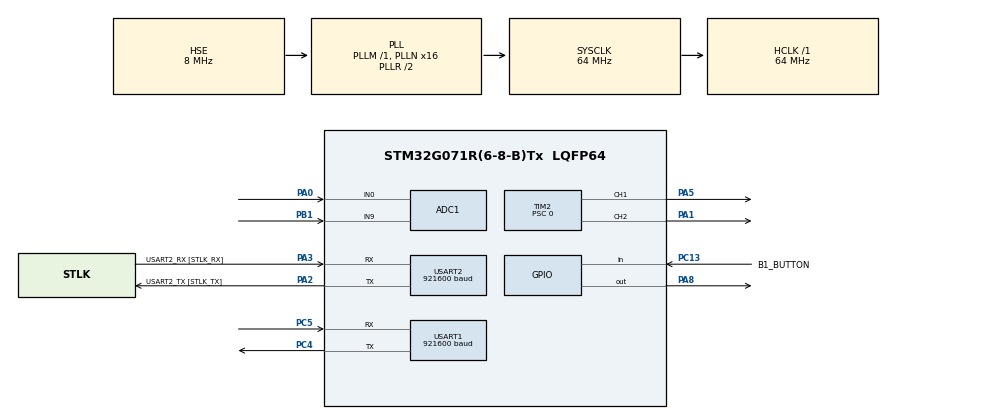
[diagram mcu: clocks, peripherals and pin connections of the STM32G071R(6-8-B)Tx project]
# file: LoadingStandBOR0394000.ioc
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ADC1.Channel-1\#ChannelRegularConversion=ADC_CHANNEL_0
ADC1.ContinuousConvMode=DISABLE
ADC1.DMAContinuousRequests=ENABLE
ADC1.DiscontinuousConvMode=DISABLE
ADC1.ExternalTrigConv=ADC_EXTERNALTRIG_T2_TRGO
ADC1.ExternalTrigConvEdge=ADC_EXTERNALTRIGCONVEDGE_RISING
ADC1.NbrOfConversionFlag=1
ADC1.Rank-1\#ChannelRegularConversion=1
ADC1.SamplingTime-1\#ChannelRegularConversion=ADC_SAMPLINGTIME_COMMON_1
ADC1.SamplingTimeCommon1=ADC_SAMPLETIME_39CYCLES_5
ADC1.SamplingTimeCommon2=ADC_SAMPLETIME_39CYCLES_5
ADC1.SelectedChannel=ADC_CHANNEL_0|ADC_CHANNEL_9
ADC1.master=1
Dma.ADC1.1.Direction=DMA_PERIPH_TO_MEMORY
Dma.ADC1.1.EventEnable=DISABLE
Dma.ADC1.1.Instance=DMA1_Channel2
Dma.ADC1.1.MemDataAlignment=DMA_MDATAALIGN_HALFWORD
Dma.ADC1.1.MemInc=DMA_MINC_ENABLE
Dma.ADC1.1.Mode=DMA_CIRCULAR
Dma.ADC1.1.PeriphDataAlignment=DMA_PDATAALIGN_HALFWORD
Dma.ADC1.1.PeriphInc=DMA_PINC_DISABLE
Dma.ADC1.1.Polarity=HAL_DMAMUX_REQ_GEN_RISING
Dma.ADC1.1.Priority=DMA_PRIORITY_HIGH
Dma.ADC1.1.RequestNumber=1
Dma.ADC1.1.SignalID=NONE
Dma.ADC1.1.SyncEnable=DISABLE
Dma.ADC1.1.SyncPolarity=HAL_DMAMUX_SYNC_NO_EVENT
Dma.ADC1.1.SyncRequestNumber=1
Dma.ADC1.1.SyncSignalID=NONE
Dma.Request0=USART2_RX
Dma.Request1=ADC1
Dma.Request2=USART1_RX
Dma.USART1_RX.2.Direction=DMA_PERIPH_TO_MEMORY
Dma.USART1_RX.2.EventEnable=DISABLE
Dma.USART1_RX.2.Instance=DMA1_Channel3
Dma.USART1_RX.2.MemDataAlignment=DMA_MDATAALIGN_BYTE
Dma.USART1_RX.2.MemInc=DMA_MINC_ENABLE
Dma.USART1_RX.2.Mode=DMA_CIRCULAR
Dma.USART1_RX.2.PeriphDataAlignment=DMA_PDATAALIGN_BYTE
Dma.USART1_RX.2.PeriphInc=DMA_PINC_DISABLE
Dma.USART1_RX.2.Polarity=HAL_DMAMUX_REQ_GEN_RISING
Dma.USART1_RX.2.Priority=DMA_PRIORITY_LOW
Dma.USART1_RX.2.RequestNumber=1
Dma.USART1_RX.2.SignalID=NONE
Dma.USART1_RX.2.SyncEnable=DISABLE
Dma.USART1_RX.2.SyncPolarity=HAL_DMAMUX_SYNC_NO_EVENT
Dma.USART1_RX.2.SyncRequestNumber=1
Dma.USART1_RX.2.SyncSignalID=NONE
Dma.USART2_RX.0.Direction=DMA_PERIPH_TO_MEMORY
Dma.USART2_RX.0.EventEnable=DISABLE
Dma.USART2_RX.0.Instance=DMA1_Channel1
Dma.USART2_RX.0.MemDataAlignment=DMA_MDATAALIGN_BYTE
Dma.USART2_RX.0.MemInc=DMA_MINC_ENABLE
Dma.USART2_RX.0.Mode=DMA_CIRCULAR
Dma.USART2_RX.0.PeriphDataAlignment=DMA_PDATAALIGN_BYTE
Dma.USART2_RX.0.PeriphInc=DMA_PINC_DISABLE
Dma.USART2_RX.0.Polarity=HAL_DMAMUX_REQ_GEN_RISING
Dma.USART2_RX.0.Priority=DMA_PRIORITY_LOW
Dma.USART2_RX.0.RequestNumber=1
Dma.USART2_RX.0.SignalID=NONE
Dma.USART2_RX.0.SyncEnable=DISABLE
Dma.USART2_RX.0.SyncPolarity=HAL_DMAMUX_SYNC_NO_EVENT
Dma.USART2_RX.0.SyncRequestNumber=1
Dma.USART2_RX.0.SyncSignalID=NONE
Mcu.Family=STM32G0
Mcu.Name=STM32G071R(6-8-B)Tx
Mcu.Package=LQFP64
NVIC.DMA1_Channel1_IRQn=true\:2\:0\:true\:false\:true\:false\:true\:true
NVIC.DMA1_Channel2_3_IRQn=true\:1\:0\:true\:false\:true\:false\:true\:true
NVIC.USART1_IRQn=true\:3\:0\:true\:false\:true\:false\:true\:true
NVIC.USART2_IRQn=true\:3\:0\:true\:false\:true\:false\:true\:true
PA0.Mode=IN0
PA0.Signal=ADC1_IN0
PA1.Signal=S_TIM2_CH2
PA13.GPIO_Label=TMS
PA13.Mode=Serial_Wire
PA13.Signal=SYS_SWDIO
PA14-BOOT0.GPIO_Label=TCK
PA14-BOOT0.Mode=Serial_Wire
PA14-BOOT0.Signal=SYS_SWCLK
PA2.GPIO_Label=USART2_TX [STLK_TX]
PA2.GPIO_PuPd=GPIO_PULLUP
PA2.Mode=Asynchronous
PA2.Signal=USART2_TX
PA3.GPIO_Label=USART2_RX [STLK_RX]
PA3.GPIO_PuPd=GPIO_PULLUP
PA3.Mode=Asynchronous
PA3.Signal=USART2_RX
PA5.Signal=S_TIM2_CH1_ETR
PA8.GPIO_Speed=GPIO_SPEED_FREQ_VERY_HIGH
PA8.Signal=GPIO_Output
PB1.Mode=IN9
PB1.Signal=ADC1_IN9
PC13.GPIO_Label=B1_BUTTON
PC13.GPIO_PuPd=GPIO_PULLUP
PC13.Signal=GPIO_Input
PC14-OSC32_IN\ (PC14).Mode=LSE-External-Oscillator
PC14-OSC32_IN\ (PC14).Signal=RCC_OSC32_IN
PC15-OSC32_OUT\ (PC15).Mode=LSE-External-Oscillator
PC15-OSC32_OUT\ (PC15).Signal=RCC_OSC32_OUT
PC4.GPIO_PuPd=GPIO_PULLUP
PC4.Mode=Asynchronous
PC4.Signal=USART1_TX
PC5.GPIO_PuPd=GPIO_PULLUP
PC5.Mode=Asynchronous
PC5.Signal=USART1_RX
PF0-OSC_IN\ (PF0).Mode=HSE-External-Oscillator
PF0-OSC_IN\ (PF0).Signal=RCC_OSC_IN
PF1-OSC_OUT\ (PF1).Mode=HSE-External-Oscillator
PF1-OSC_OUT\ (PF1).Signal=RCC_OSC_OUT
ProjectManager.HeapSize=0x200
ProjectManager.StackSize=0x400
ProjectManager.TargetToolchain=STM32CubeIDE
RCC.ADCFreq_Value=64000000
RCC.AHBFreq_Value=64000000
RCC.CortexFreq_Value=64000000
RCC.EXTERNAL_CLOCK_VALUE=12288000
RCC.HCLKFreq_Value=64000000
RCC.HSE_VALUE=8000000
RCC.HSI_VALUE=16000000
RCC.PLLN=16
RCC.PLLSourceVirtual=RCC_PLLSOURCE_HSE
RCC.SYSCLKFreq_VALUE=64000000
RCC.SYSCLKSource=RCC_SYSCLKSOURCE_PLLCLK
RCC.VCOOutputFreq_Value=128000000
SH.S_TIM2_CH1_ETR.0=TIM2_CH1,PWM Generation1 CH1
SH.S_TIM2_CH2.0=TIM2_CH2,PWM Generation2 CH2
TIM2.AutoReloadPreload=TIM_AUTORELOAD_PRELOAD_ENABLE
TIM2.Channel-PWM\ Generation1\ CH1=TIM_CHANNEL_1
TIM2.Channel-PWM\ Generation2\ CH2=TIM_CHANNEL_2
TIM2.Channel-PWM\ Generation4\ No\ Output=TIM_CHANNEL_4
TIM2.ClockDivision=TIM_CLOCKDIVISION_DIV2
TIM2.CounterMode=TIM_COUNTERMODE_CENTERALIGNED1
TIM2.OCMode_PWM-PWM\ Generation4\ No\ Output=TIM_OCMODE_PWM1
TIM2.Period=3200
TIM2.Prescaler=0
TIM2.Pulse-PWM\ Generation1\ CH1=0
TIM2.Pulse-PWM\ Generation2\ CH2=0
TIM2.Pulse-PWM\ Generation4\ No\ Output=160
TIM2.TIM_MasterOutputTrigger=TIM_TRGO_OC4REF
TIM2.TIM_MasterSlaveMode=TIM_MASTERSLAVEMODE_DISABLE
USART1.BaudRate=921600
USART1.VirtualMode-Asynchronous=VM_ASYNC
USART2.BaudRate=921600
USART2.VirtualMode-Asynchronous=VM_ASYNC
VP_TIM2_VS_ClockSourceINT.Mode=Internal
VP_TIM2_VS_no_output4.Mode=PWM Generation4 No Output
board=NUCLEO-G071RB

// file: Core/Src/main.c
/* USER CODE BEGIN Header */
/**
  ******************************************************************************
  * @file           : main.c
  * @brief          : Main program body
  ******************************************************************************
  * @attention
  *
  * Copyright (c) 2026 STMicroelectronics.
  * All rights reserved.
  *
  * This software is licensed under terms that can be found in the LICENSE file
  * in the root directory of this software component.
  * If no LICENSE file comes with this software, it is provided AS-IS.
  *
  ******************************************************************************
  */
/* USER CODE END Header */
#include "main.h"

/* USER CODE BEGIN Includes */
#include "console.h"
#include "control.h"
#include "cmd.h"
#include <stdio.h>
/* USER CODE END Includes */

ADC_HandleTypeDef hadc1;
DMA_HandleTypeDef hdma_adc1;

TIM_HandleTypeDef htim2;

UART_HandleTypeDef huart1;
UART_HandleTypeDef huart2;
DMA_HandleTypeDef hdma_usart1_rx;
DMA_HandleTypeDef hdma_usart2_rx;

void SystemClock_Config(void);
static void MX_GPIO_Init(void);
static void MX_DMA_Init(void);
static void MX_USART2_UART_Init(void);
static void MX_ADC1_Init(void);
static void MX_TIM2_Init(void);
static void MX_USART1_UART_Init(void);
/* USER CODE BEGIN PFP */
void App_Init(void);
void App_Process(void);
/* USER CODE END PFP */

int main(void)
{

  /* MCU Configuration--------------------------------------------------------*/

  /* Reset of all peripherals, Initializes the Flash interface and the Systick. */
  HAL_Init();

  /* Configure the system clock */
  SystemClock_Config();

  /* Initialize all configured peripherals */
  MX_GPIO_Init();
  MX_DMA_Init();
  MX_USART2_UART_Init();
  MX_ADC1_Init();
  MX_TIM2_Init();
  MX_USART1_UART_Init();
  /* USER CODE BEGIN 2 */
  App_Init();
  /* USER CODE END 2 */

  /* Infinite loop */
  while (1)
  {

    /* USER CODE BEGIN 3 */
    App_Process();   /* inside USER CODE 3 so CubeMX regeneration keeps it */
  }
  /* USER CODE END 3 */
}

void SystemClock_Config(void)
{
  RCC_OscInitTypeDef RCC_OscInitStruct = {0};
  RCC_ClkInitTypeDef RCC_ClkInitStruct = {0};

  /** Configure the main internal regulator output voltage
  */
  HAL_PWREx_ControlVoltageScaling(PWR_REGULATOR_VOLTAGE_SCALE1);

  /** Initializes the RCC Oscillators according to the specified parameters
  * in the RCC_OscInitTypeDef structure.
  */
  RCC_OscInitStruct.OscillatorType = RCC_OSCILLATORTYPE_HSE;
  RCC_OscInitStruct.HSEState = RCC_HSE_ON;
  RCC_OscInitStruct.PLL.PLLState = RCC_PLL_ON;
  RCC_OscInitStruct.PLL.PLLSource = RCC_PLLSOURCE_HSE;
  RCC_OscInitStruct.PLL.PLLM = RCC_PLLM_DIV1;
  RCC_OscInitStruct.PLL.PLLN = 16;
  RCC_OscInitStruct.PLL.PLLP = RCC_PLLP_DIV2;
  RCC_OscInitStruct.PLL.PLLQ = RCC_PLLQ_DIV2;
  RCC_OscInitStruct.PLL.PLLR = RCC_PLLR_DIV2;
  if (HAL_RCC_OscConfig(&RCC_OscInitStruct) != HAL_OK)
  {
    Error_Handler();
  }

  /** Initializes the CPU, AHB and APB buses clocks
  */
  RCC_ClkInitStruct.ClockType = RCC_CLOCKTYPE_HCLK|RCC_CLOCKTYPE_SYSCLK
                              |RCC_CLOCKTYPE_PCLK1;
  RCC_ClkInitStruct.SYSCLKSource = RCC_SYSCLKSOURCE_PLLCLK;
  RCC_ClkInitStruct.AHBCLKDivider = RCC_SYSCLK_DIV1;
  RCC_ClkInitStruct.APB1CLKDivider = RCC_HCLK_DIV1;

  if (HAL_RCC_ClockConfig(&RCC_ClkInitStruct, FLASH_LATENCY_2) != HAL_OK)
  {
    Error_Handler();
  }
}

static void MX_ADC1_Init(void)
{

  ADC_ChannelConfTypeDef sConfig = {0};

  /** Configure the global features of the ADC (Clock, Resolution, Data Alignment and number of conversion)
  */
  hadc1.Instance = ADC1;
  hadc1.Init.ClockPrescaler = ADC_CLOCK_SYNC_PCLK_DIV2;
  hadc1.Init.Resolution = ADC_RESOLUTION_12B;
  hadc1.Init.DataAlign = ADC_DATAALIGN_RIGHT;
  hadc1.Init.ScanConvMode = ADC_SCAN_DISABLE;
  hadc1.Init.EOCSelection = ADC_EOC_SINGLE_CONV;
  hadc1.Init.LowPowerAutoWait = DISABLE;
  hadc1.Init.LowPowerAutoPowerOff = DISABLE;
  hadc1.Init.ContinuousConvMode = DISABLE;
  hadc1.Init.NbrOfConversion = 1;
  hadc1.Init.DiscontinuousConvMode = DISABLE;
  hadc1.Init.ExternalTrigConv = ADC_EXTERNALTRIG_T2_TRGO;
  hadc1.Init.ExternalTrigConvEdge = ADC_EXTERNALTRIGCONVEDGE_RISING;
  hadc1.Init.DMAContinuousRequests = ENABLE;
  hadc1.Init.Overrun = ADC_OVR_DATA_PRESERVED;
  hadc1.Init.SamplingTimeCommon1 = ADC_SAMPLETIME_39CYCLES_5;
  hadc1.Init.SamplingTimeCommon2 = ADC_SAMPLETIME_39CYCLES_5;
  hadc1.Init.OversamplingMode = DISABLE;
  hadc1.Init.TriggerFrequencyMode = ADC_TRIGGER_FREQ_HIGH;
  if (HAL_ADC_Init(&hadc1) != HAL_OK)
  {
    Error_Handler();
  }

  /** Configure Regular Channel
  */
  sConfig.Channel = ADC_CHANNEL_0;
  sConfig.Rank = ADC_REGULAR_RANK_1;
  sConfig.SamplingTime = ADC_SAMPLINGTIME_COMMON_1;
  if (HAL_ADC_ConfigChannel(&hadc1, &sConfig) != HAL_OK)
  {
    Error_Handler();
  }

}

static void MX_TIM2_Init(void)
{

  TIM_ClockConfigTypeDef sClockSourceConfig = {0};
  TIM_MasterConfigTypeDef sMasterConfig = {0};
  TIM_OC_InitTypeDef sConfigOC = {0};

  htim2.Instance = TIM2;
  htim2.Init.Prescaler = 0;
  htim2.Init.CounterMode = TIM_COUNTERMODE_CENTERALIGNED1;
  htim2.Init.Period = 3200;
  htim2.Init.ClockDivision = TIM_CLOCKDIVISION_DIV2;
  htim2.Init.AutoReloadPreload = TIM_AUTORELOAD_PRELOAD_ENABLE;
  if (HAL_TIM_Base_Init(&htim2) != HAL_OK)
  {
    Error_Handler();
  }
  sClockSourceConfig.ClockSource = TIM_CLOCKSOURCE_INTERNAL;
  if (HAL_TIM_ConfigClockSource(&htim2, &sClockSourceConfig) != HAL_OK)
  {
    Error_Handler();
  }
  if (HAL_TIM_PWM_Init(&htim2) != HAL_OK)
  {
    Error_Handler();
  }
  sMasterConfig.MasterOutputTrigger = TIM_TRGO_OC4REF;
  sMasterConfig.MasterSlaveMode = TIM_MASTERSLAVEMODE_DISABLE;
  if (HAL_TIMEx_MasterConfigSynchronization(&htim2, &sMasterConfig) != HAL_OK)
  {
    Error_Handler();
  }
  sConfigOC.OCMode = TIM_OCMODE_PWM1;
  sConfigOC.Pulse = 0;
  sConfigOC.OCPolarity = TIM_OCPOLARITY_HIGH;
  sConfigOC.OCFastMode = TIM_OCFAST_DISABLE;
  if (HAL_TIM_PWM_ConfigChannel(&htim2, &sConfigOC, TIM_CHANNEL_1) != HAL_OK)
  {
    Error_Handler();
  }
  if (HAL_TIM_PWM_ConfigChannel(&htim2, &sConfigOC, TIM_CHANNEL_2) != HAL_OK)
  {
    Error_Handler();
  }
  sConfigOC.Pulse = 160;
  if (HAL_TIM_PWM_ConfigChannel(&htim2, &sConfigOC, TIM_CHANNEL_4) != HAL_OK)
  {
    Error_Handler();
  }
  /* USER CODE BEGIN TIM2_Init 2 */
  /* CH4 (no GPIO) + TRGO=OC4REF are now configured from the .ioc above: OC4REF's
     rising edge triggers the ADC once per PWM period near the ON-pulse center.
     Pulse(CCR4) = advance before center; it is set/tuned at runtime in control.c
     (apply_output / Reg_SetTrigAdv), adapting to duty for short vs long pulses. */
  /* USER CODE END TIM2_Init 2 */
  HAL_TIM_MspPostInit(&htim2);

}

static void MX_USART1_UART_Init(void)
{

  huart1.Instance = USART1;
  huart1.Init.BaudRate = 921600;
  huart1.Init.WordLength = UART_WORDLENGTH_8B;
  huart1.Init.StopBits = UART_STOPBITS_1;
  huart1.Init.Parity = UART_PARITY_NONE;
  huart1.Init.Mode = UART_MODE_TX_RX;
  huart1.Init.HwFlowCtl = UART_HWCONTROL_NONE;
  huart1.Init.OverSampling = UART_OVERSAMPLING_16;
  huart1.Init.OneBitSampling = UART_ONE_BIT_SAMPLE_DISABLE;
  huart1.Init.ClockPrescaler = UART_PRESCALER_DIV1;
  huart1.AdvancedInit.AdvFeatureInit = UART_ADVFEATURE_NO_INIT;
  if (HAL_UART_Init(&huart1) != HAL_OK)
  {
    Error_Handler();
  }
  if (HAL_UARTEx_SetTxFifoThreshold(&huart1, UART_TXFIFO_THRESHOLD_1_8) != HAL_OK)
  {
    Error_Handler();
  }
  if (HAL_UARTEx_SetRxFifoThreshold(&huart1, UART_RXFIFO_THRESHOLD_1_8) != HAL_OK)
  {
    Error_Handler();
  }
  if (HAL_UARTEx_DisableFifoMode(&huart1) != HAL_OK)
  {
    Error_Handler();
  }

}

static void MX_USART2_UART_Init(void)
{

  huart2.Instance = USART2;
  huart2.Init.BaudRate = 921600;
  huart2.Init.WordLength = UART_WORDLENGTH_8B;
  huart2.Init.StopBits = UART_STOPBITS_1;
  huart2.Init.Parity = UART_PARITY_NONE;
  huart2.Init.Mode = UART_MODE_TX_RX;
  huart2.Init.HwFlowCtl = UART_HWCONTROL_NONE;
  huart2.Init.OverSampling = UART_OVERSAMPLING_16;
  huart2.Init.OneBitSampling = UART_ONE_BIT_SAMPLE_DISABLE;
  huart2.Init.ClockPrescaler = UART_PRESCALER_DIV1;
  huart2.AdvancedInit.AdvFeatureInit = UART_ADVFEATURE_NO_INIT;
  if (HAL_UART_Init(&huart2) != HAL_OK)
  {
    Error_Handler();
  }
  if (HAL_UARTEx_SetTxFifoThreshold(&huart2, UART_TXFIFO_THRESHOLD_1_8) != HAL_OK)
  {
    Error_Handler();
  }
  if (HAL_UARTEx_SetRxFifoThreshold(&huart2, UART_RXFIFO_THRESHOLD_1_8) != HAL_OK)
  {
    Error_Handler();
  }
  if (HAL_UARTEx_DisableFifoMode(&huart2) != HAL_OK)
  {
    Error_Handler();
  }

}

static void MX_DMA_Init(void)
{

  /* DMA controller clock enable */
  __HAL_RCC_DMA1_CLK_ENABLE();

  /* DMA interrupt init */
  /* DMA1_Channel1_IRQn interrupt configuration */
  HAL_NVIC_SetPriority(DMA1_Channel1_IRQn, 2, 0);
  HAL_NVIC_EnableIRQ(DMA1_Channel1_IRQn);
  /* DMA1_Channel2_3_IRQn interrupt configuration */
  HAL_NVIC_SetPriority(DMA1_Channel2_3_IRQn, 1, 0);
  HAL_NVIC_EnableIRQ(DMA1_Channel2_3_IRQn);

}

static void MX_GPIO_Init(void)
{
  GPIO_InitTypeDef GPIO_InitStruct = {0};

  /* GPIO Ports Clock Enable */
  __HAL_RCC_GPIOC_CLK_ENABLE();
  __HAL_RCC_GPIOF_CLK_ENABLE();
  __HAL_RCC_GPIOA_CLK_ENABLE();
  __HAL_RCC_GPIOB_CLK_ENABLE();

  /*Configure GPIO pin Output Level */
  HAL_GPIO_WritePin(GPIOA, GPIO_PIN_8, GPIO_PIN_RESET);

  /*Configure GPIO pin : B1_BUTTON_Pin */
  GPIO_InitStruct.Pin = B1_BUTTON_Pin;
  GPIO_InitStruct.Mode = GPIO_MODE_INPUT;
  GPIO_InitStruct.Pull = GPIO_PULLUP;
  HAL_GPIO_Init(B1_BUTTON_GPIO_Port, &GPIO_InitStruct);

  /*Configure GPIO pin : PA8 */
  GPIO_InitStruct.Pin = GPIO_PIN_8;
  GPIO_InitStruct.Mode = GPIO_MODE_OUTPUT_PP;
  GPIO_InitStruct.Pull = GPIO_NOPULL;
  GPIO_InitStruct.Speed = GPIO_SPEED_FREQ_VERY_HIGH;
  HAL_GPIO_Init(GPIOA, &GPIO_InitStruct);

  /* USER CODE BEGIN MX_GPIO_Init_2 */
  /* B1 user button on PC13 (active-low, internal pull-up) -> brake toggle */
  {
    GPIO_InitTypeDef b1 = {0};
    b1.Pin = GPIO_PIN_13;
    b1.Mode = GPIO_MODE_INPUT;
    b1.Pull = GPIO_PULLUP;
    HAL_GPIO_Init(GPIOC, &b1);
  }
  /* PA8 = ADC scope marker: pulsed HIGH in the ADC conv-complete ISR for the
     ON-pulse-center sample. Probe PA8 vs PA5/PA1 (PWM) to verify the sampling
     instant lands inside the PWM ON pulse. Push-pull, very-high speed, starts low. */
  {
    GPIO_InitTypeDef tp = {0};
    HAL_GPIO_WritePin(GPIOA, GPIO_PIN_8, GPIO_PIN_RESET);
    tp.Pin   = GPIO_PIN_8;
    tp.Mode  = GPIO_MODE_OUTPUT_PP;
    tp.Pull  = GPIO_NOPULL;
    tp.Speed = GPIO_SPEED_FREQ_VERY_HIGH;
    HAL_GPIO_Init(GPIOA, &tp);
  }
  /* USER CODE END MX_GPIO_Init_2 */
}

/* USER CODE BEGIN 4 */

/* Application glue: wires the console, command parser and PI regulator. */
void App_Init(void)
{
  Reg_Init();        /* ADC calibration, 10 kHz PWM, timer-triggered ADC */
  Console_Init();    /* USART2 RX DMA ring + IRQ-driven TX ring          */
  Cmd_Init();

  Cmd_Banner();    /* BORK welcome logo on every boot/reset */
}

void App_Process(void)
{
  uint8_t c; int port;
  while (Console_ReadByte(&c, &port)) Cmd_FeedByte(port, (char)c);
  Cmd_StreamTask();

  /* B1 button (PC13, active-low): OFF + increasing TORQUE setpoints (1..25 Nm).
     Torque mode arms the feedforward and only closes the PID loop once the shaft
     is actually driven (hand-rotated) - so at 0 / no motion it does NOT run away.*/
  static const struct { float Nm; const char *name; } seq[] = {
    {  0.0f, "1 OFF"      },
    {  1.0f, "2 M 1 Nm"   },
    {  2.0f, "3 M 2 Nm"   },
    {  3.0f, "4 M 3 Nm"   },
    {  5.0f, "5 M 5 Nm"   },
    {  8.0f, "6 M 8 Nm"   },
    { 12.0f, "7 M 12 Nm"  },
    { 16.0f, "8 M 16 Nm"  },
    { 20.0f, "9 M 20 Nm"  },
    { 25.0f, "10 M 25 Nm" },
  };
  const int NSEQ = (int)(sizeof seq / sizeof seq[0]);

  static int           seq_idx  = 0;            /* current step (0 = OFF at boot) */
  static GPIO_PinState btn_prev = GPIO_PIN_SET;
  static uint32_t      btn_tick = 0;
  GPIO_PinState btn = HAL_GPIO_ReadPin(GPIOC, GPIO_PIN_13);
  if (btn == GPIO_PIN_RESET && btn_prev == GPIO_PIN_SET && (HAL_GetTick() - btn_tick) > 200u)
  {
    btn_tick = HAL_GetTick();
    seq_idx = (seq_idx + 1) % NSEQ;             /* advance to the next state */

    if (seq_idx == 0) Reg_SetMode(OUT_OFF);
    else              Reg_SetTorqueSetpoint_Nm(seq[seq_idx].Nm);

    char b[64];
    snprintf(b, sizeof b, "\r\n[BTN] step %s (of %d)\r\n", seq[seq_idx].name, NSEQ);
    Console_Print(b);
  }
  btn_prev = btn;
}

/* USER CODE END 4 */

void Error_Handler(void)
{
  __disable_irq();
  while (1)
  {
  }
}
